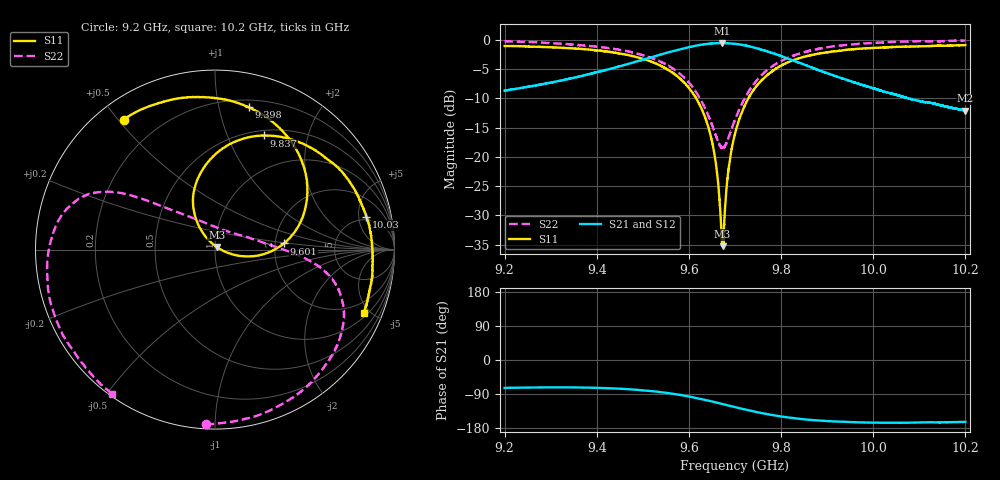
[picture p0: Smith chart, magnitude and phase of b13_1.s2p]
!Agilent Technologies,N5242A,MY51221714,A.09.90.19
!Agilent N5242A: A.09.90.19
!Date: Saturday, December 30, 2023 10:04:34
!Correction: S11(Full 2 Port(1,2))
!S21(Full 2 Port(1,2))
!S12(Full 2 Port(1,2))
!S22(Full 2 Port(1,2))
!S2P File: Measurements: S11, S21, S12, S22:
# Hz S  dB  R 50
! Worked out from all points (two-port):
!   16001 points, 9.2 GHz to 10.2 GHz, reference 50 ohm
!   highest |S21| = -0.54 dB at 9.671 GHz (marker M1); lowest = -12.1 dB at 10.2 GHz (marker M2)
!   |S21| within 3 dB of the highest: 9.493818 GHz to 9.494431 GHz (613.3 kHz wide, 0.00646 % of centre); 9.494 GHz to 9.826 GHz (331.7 MHz wide, 3.43 % of centre)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
!   lowest |S11| = -35.3 dB at 9.673 GHz (marker M3), VSWR 1.04, Z = 50.9 + j1.48 ohm
!   |S11| at or under -10 dB: 9.616 GHz to 9.729 GHz (113.4 MHz wide, 1.17 % of centre)
!   |S22| runs from -18.5 to -0.1 dB; largest |S21 - S12| = 0.013
!   S11 on the Smith chart (normalised r, x): 9.2 GHz: 0.08, +0.52; 9.398 GHz: 0.26, +1.23; 9.601 GHz: 2.23, +0.18; 9.837 GHz: 0.56, +1.36; 10.03 GHz: 4.40, +6.28; 10.2 GHz: 1.20, -4.56
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9.2e9  -1.06 125.0  -8.69 -73.7  -8.67 -74.3  -0.23 -93.0
9.277875e9  -1.20 107.1  -7.65 -72.4  -7.64 -73.0  -0.47 -71.8
9.366688e9  -1.56 85.1  -6.19 -72.6  -6.17 -73.3  -0.93 -48.9
9.397812e9  -1.78 76.6  -5.58 -73.4  -5.57 -74.1  -1.15 -41.1
9.466688e9  -2.58 56.2  -4.16 -76.9  -4.14 -77.6  -1.97 -25.8
9.533375e9  -4.24 33.0  -2.65 -84.0  -2.64 -84.5  -3.56 -13.5
9.600625e9  -8.29 5.1  -1.24 -96.4  -1.23 -97.0  -7.34 -2.2
9.62875e9  -12.00 -7.2  -0.82 -103.4  -0.81 -104.1  -10.71 6.4
9.6485e9  -16.86 -14.2  -0.64 -109.0  -0.62 -109.6  -14.23 20.3
9.660438e9  -22.29 -14.5  -0.57 -112.5  -0.56 -113.1  -16.79 37.7
9.671125e9  -33.77 23.6  -0.54 -115.7  -0.54 -116.3  -18.40 64.8
9.673e9  -35.28 57.6  -0.55 -116.2  -0.54 -116.8  -18.48 70.7
9.686938e9  -21.51 125.4  -0.60 -120.4  -0.58 -121.0  -16.48 106.3
9.7e9  -16.08 124.2  -0.69 -124.3  -0.66 -125.0  -13.66 123.4
9.748562e9  -7.73 103.2  -1.49 -137.8  -1.46 -138.5  -6.81 143.8
9.836625e9  -3.20 66.8  -3.83 -154.7  -3.83 -155.4  -2.42 155.6
9.866688e9  -2.59 56.3  -4.73 -158.5  -4.73 -159.1  -1.79 160.0
9.949938e9  -1.64 32.1  -7.03 -163.8  -7.05 -164.5  -0.82 175.5
1.002969e10  -1.29 12.3  -8.98 -165.5  -8.97 -166.2  -0.41 -167.2
1.003338e10  -1.26 11.4  -9.06 -165.5  -9.05 -166.2  -0.40 -166.4
1.019931e10  -0.91 -23.1  -12.10 -163.3  -12.08 -164.0  -0.12 -125.7
1.02e10  -0.90 -23.2  -12.08 -163.2  -12.08 -164.0  -0.12 -125.5
